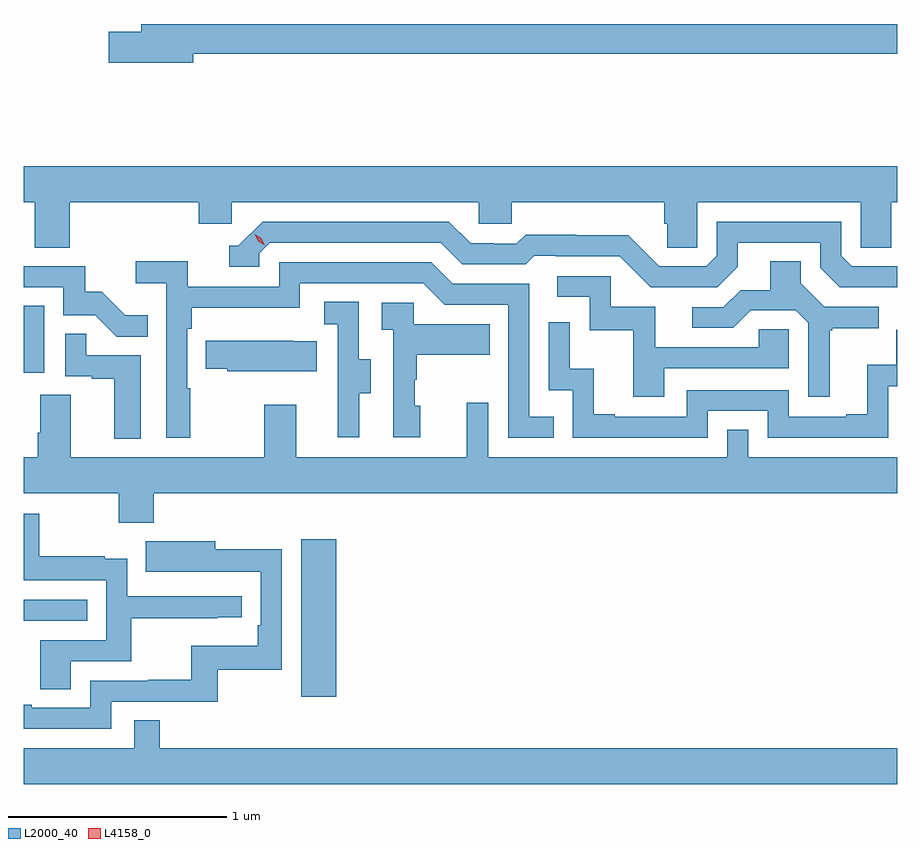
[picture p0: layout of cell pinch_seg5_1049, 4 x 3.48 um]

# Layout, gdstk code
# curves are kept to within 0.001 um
import gdstk
lib = gdstk.Library(unit=1e-6, precision=1e-09)
def R(c, l, rs):  # rectangles x0, y0, x1, y1
    for r in rs: c.add(gdstk.rectangle(r[:2], r[2:], *l))
def P(c, l, *ps):  # polygons
    for p in ps: c.add(gdstk.Polygon(p, *l))
L2000_40 = (2000, 40)
L4158_0 = (4158, 0)

pinch_seg5_1049 = lib.new_cell('pinch_seg5_1049')
R(pinch_seg5_1049, L2000_40, [(826.223,863.82,826.384,864.541), (824.953,864.168,825.245,864.264), (824.953,865.302,825.046,865.609)])
P(pinch_seg5_1049, L2000_40, [(825.73,866.764),(828.953,866.764),(828.953,866.9),(825.491,866.9),(825.491,866.864),(825.342,866.864),(825.342,866.722),(825.73,866.722)],
  [(825.164,866.084),(825.755,866.084),(825.755,865.986),(825.906,865.986),(825.906,866.084),(827.037,866.084),(827.037,865.986),(827.187,865.986),(827.187,866.084),(827.885,866.084),(827.885,865.986),(827.899,865.986),(827.899,865.876),(828.036,865.876),(828.036,866.084),(828.786,866.084),(828.786,865.876),(828.925,865.876),(828.925,866.084),(828.953,866.084),(828.953,866.248),(824.953,866.248),(824.953,866.084),(825.004,866.084),(825.004,865.876),(825.164,865.876)],
  [(828.953,865.791),(828.744,865.791),(828.696,865.839),(828.696,865.995),(828.126,865.995),(828.126,865.839),(828.078,865.791),(827.862,865.791),(827.72,865.933),(827.484,865.933),(827.484,865.936),(827.251,865.936),(827.209,865.893),(827.106,865.893),(827.106,865.896),(826.999,865.896),(826.9,865.995),(826.047,865.995),(825.936,865.884),(825.893,865.884),(825.893,865.788),(826.032,865.788),(826.032,865.851),(826.08,865.899),(826.863,865.899),(826.962,865.8),(827.251,865.8),(827.29,865.839),(827.389,865.839),(827.389,865.836),(827.682,865.836),(827.823,865.695),(828.129,865.695),(828.223,865.789),(828.223,865.899),(828.6,865.899),(828.6,865.785),(828.69,865.695),(828.953,865.694)],
  [(828.643,865.497),(828.655,865.497),(828.655,865.508),(828.868,865.508),(828.868,865.605),(828.618,865.605),(828.511,865.712),(828.511,865.814),(828.371,865.814),(828.371,865.682),(828.236,865.682),(828.156,865.602),(828.015,865.602),(828.015,865.509),(828.202,865.509),(828.283,865.59),(828.489,865.59),(828.546,865.533),(828.546,865.194),(828.643,865.194)],
  [(825.715,865.232),(825.702,865.232),(825.702,865.505),(825.722,865.505),(825.722,865.601),(826.218,865.601),(826.218,865.713),(826.782,865.713),(826.881,865.614),(827.172,865.614),(827.172,865.005),(827.381,865.005),(827.381,865.101),(827.268,865.101),(827.268,865.71),(826.918,865.71),(826.819,865.809),(826.122,865.809),(826.122,865.698),(825.704,865.698),(825.704,865.814),(825.465,865.814),(825.465,865.712),(825.606,865.712),(825.606,865.005),(825.715,865.005)],
  [(825.521,865.567),(825.417,865.567),(825.31,865.674),(825.234,865.674),(825.234,865.791),(824.953,865.791),(824.953,865.695),(825.135,865.695),(825.135,865.566),(825.28,865.566),(825.378,865.468),(825.521,865.468)],
  [(827.887,865.323),(828.456,865.323),(828.456,865.503),(828.319,865.503),(828.319,865.419),(827.845,865.419),(827.845,865.605),(827.64,865.605),(827.64,865.746),(827.397,865.746),(827.397,865.65),(827.544,865.65),(827.544,865.497),(827.743,865.497),(827.743,865.194),(827.887,865.194)],
  [(826.489,865.21),(826.543,865.21),(826.543,865.365),(826.488,865.365),(826.488,865.628),(826.329,865.628),(826.329,865.525),(826.392,865.525),(826.392,865.221),(826.391,865.221),(826.391,865.008),(826.489,865.008)],
  [(826.768,865.152),(826.743,865.152),(826.743,865.271),(826.753,865.271),(826.753,865.385),(827.087,865.385),(827.087,865.525),(826.74,865.525),(826.74,865.623),(826.593,865.623),(826.593,865.499),(826.644,865.499),(826.644,865.008),(826.768,865.008)],
  [(828.084,865.128),(828.36,865.128),(828.36,865.005),(828.912,865.005),(828.912,865.241),(828.953,865.241),(828.953,865.5),(828.948,865.5),(828.948,865.339),(828.815,865.339),(828.815,865.114),(828.719,865.114),(828.719,865.101),(828.456,865.101),(828.456,865.224),(827.988,865.224),(827.988,865.101),(827.659,865.101),(827.659,865.114),(827.564,865.114),(827.564,865.322),(827.454,865.322),(827.454,865.534),(827.358,865.534),(827.358,865.224),(827.466,865.224),(827.466,865.005),(828.084,865.005)],
  [(825.49,865.383),(825.239,865.383),(825.239,865.481),(825.144,865.481),(825.144,865.287),(825.265,865.287),(825.265,865.275),(825.368,865.275),(825.368,865.001),(825.49,865.001)],
  [(826.295,865.447),(826.187,865.447),(826.187,865.45),(825.787,865.45),(825.787,865.321),(825.885,865.321),(825.885,865.31),(826.295,865.31)],
  [(825.548,864.752),(828.953,864.752),(828.953,864.916),(828.27,864.916),(828.27,865.043),(828.174,865.043),(828.174,864.916),(827.079,864.916),(827.079,865.165),(826.982,865.165),(826.982,864.916),(826.201,864.916),(826.201,865.156),(826.054,865.156),(826.054,864.916),(825.169,864.916),(825.169,865.202),(825.029,865.202),(825.029,865.028),(825.017,865.028),(825.017,864.916),(824.953,864.916),(824.953,864.752),(825.388,864.752),(825.388,864.617),(825.548,864.617)],
  [(825.169,863.982),(825.446,863.982),(825.446,864.178),(825.839,864.178),(825.839,864.183),(825.952,864.183),(825.952,864.279),(825.426,864.279),(825.426,864.451),(825.323,864.451),(825.323,864.463),(825.025,864.463),(825.025,864.657),(824.953,864.657),(824.953,864.354),(825.33,864.354),(825.33,864.078),(825.029,864.078),(825.029,863.854),(825.169,863.854)],
  [(825.354,863.796),(825.841,863.796),(825.841,863.943),(826.134,863.943),(826.134,864.494),(825.829,864.494),(825.829,864.532),(825.511,864.532),(825.511,864.392),(825.725,864.392),(825.725,864.393),(826.038,864.393),(826.038,864.148),(826.025,864.148),(826.025,864.052),(825.72,864.052),(825.72,863.897),(825.523,863.897),(825.523,863.892),(825.258,863.892),(825.258,863.769),(824.989,863.769),(824.989,863.782),(824.953,863.782),(824.953,863.673),(825.354,863.673)],
  [(828.953,863.584),(825.575,863.584),(825.575,863.711),(825.459,863.711),(825.459,863.584),(824.953,863.584),(824.953,863.42),(828.953,863.42)])
P(pinch_seg5_1049, L4158_0, [(826.057,865.886),(826.026,865.905),(826.01,865.938),(826.01,865.938),(826.01,865.938),(826.041,865.919),(826.057,865.886),(826.057,865.886)])

lib.write_gds('pinch_seg5_1049.gds')
